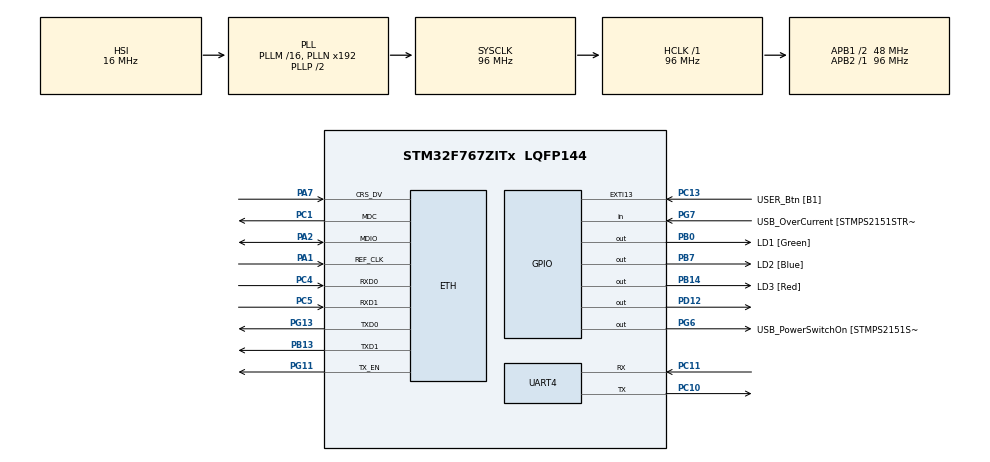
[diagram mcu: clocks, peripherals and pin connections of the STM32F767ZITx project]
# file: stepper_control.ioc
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ETH.MediaInterface=HAL_ETH_RMII_MODE
FREERTOS.Tasks01=defaultTask,24,2048,StartDefaultTask,Default,NULL,Dynamic,NULL,NULL
FREERTOS.configUSE_NEWLIB_REENTRANT=1
Mcu.Family=STM32F7
Mcu.Name=STM32F767ZITx
Mcu.Package=LQFP144
NVIC.ETH_IRQn=true\:5\:0\:false\:false\:false\:true\:true\:true\:true
NVIC.PriorityGroup=NVIC_PRIORITYGROUP_4
NVIC.TIM6_DAC_IRQn=true\:15\:0\:false\:false\:true\:false\:false\:true\:true
NVIC.TimeBase=TIM6_DAC_IRQn
NVIC.TimeBaseIP=TIM6
PA1.GPIO_Mode=GPIO_MODE_AF_PP
PA1.GPIO_PuPd=GPIO_NOPULL
PA1.GPIO_Speed=GPIO_SPEED_FREQ_VERY_HIGH
PA1.Mode=RMII
PA1.Signal=ETH_REF_CLK
PA10.GPIO_Label=USB_ID
PA10.Signal=USB_OTG_FS_ID
PA11.GPIO_Label=USB_DM
PA11.Signal=USB_OTG_FS_DM
PA12.GPIO_Label=USB_DP
PA12.Signal=USB_OTG_FS_DP
PA13.GPIO_Label=TMS
PA13.Signal=SYS_JTMS-SWDIO
PA14.GPIO_Label=TCK
PA14.Signal=SYS_JTCK-SWCLK
PA2.GPIO_Mode=GPIO_MODE_AF_PP
PA2.GPIO_PuPd=GPIO_NOPULL
PA2.GPIO_Speed=GPIO_SPEED_FREQ_VERY_HIGH
PA2.Mode=RMII
PA2.Signal=ETH_MDIO
PA7.GPIO_Mode=GPIO_MODE_AF_PP
PA7.GPIO_PuPd=GPIO_NOPULL
PA7.GPIO_Speed=GPIO_SPEED_FREQ_VERY_HIGH
PA7.Mode=RMII
PA7.Signal=ETH_CRS_DV
PA8.GPIO_Label=USB_SOF [TP1]
PA8.Signal=USB_OTG_FS_SOF
PA9.GPIO_Label=USB_VBUS
PA9.Signal=USB_OTG_FS_VBUS
PB0.GPIO_Label=LD1 [Green]
PB0.Signal=GPIO_Output
PB13.GPIO_Mode=GPIO_MODE_AF_PP
PB13.GPIO_PuPd=GPIO_NOPULL
PB13.GPIO_Speed=GPIO_SPEED_FREQ_VERY_HIGH
PB13.Mode=RMII
PB13.Signal=ETH_TXD1
PB14.GPIO_Label=LD3 [Red]
PB14.Signal=GPIO_Output
PB3.GPIO_Label=SW0
PB3.Signal=SYS_JTDO-SWO
PB7.GPIO_Label=LD2 [Blue]
PB7.Signal=GPIO_Output
PC1.GPIO_Mode=GPIO_MODE_AF_PP
PC1.GPIO_PuPd=GPIO_NOPULL
PC1.GPIO_Speed=GPIO_SPEED_FREQ_VERY_HIGH
PC1.Mode=RMII
PC1.Signal=ETH_MDC
PC10.Mode=Asynchronous
PC10.Signal=UART4_TX
PC11.Mode=Asynchronous
PC11.Signal=UART4_RX
PC13.GPIO_Label=USER_Btn [B1]
PC13.Signal=GPXTI13
PC14/OSC32_IN.Signal=RCC_OSC32_IN
PC15/OSC32_OUT.Signal=RCC_OSC32_OUT
PC4.GPIO_Mode=GPIO_MODE_AF_PP
PC4.GPIO_PuPd=GPIO_NOPULL
PC4.GPIO_Speed=GPIO_SPEED_FREQ_VERY_HIGH
PC4.Mode=RMII
PC4.Signal=ETH_RXD0
PC5.GPIO_Mode=GPIO_MODE_AF_PP
PC5.GPIO_PuPd=GPIO_NOPULL
PC5.GPIO_Speed=GPIO_SPEED_FREQ_VERY_HIGH
PC5.Mode=RMII
PC5.Signal=ETH_RXD1
PD12.Signal=GPIO_Output
PD8.GPIO_Label=STLK_RX [STM32F103CBT6_PA3]
PD8.Signal=USART3_TX
PD9.GPIO_Label=STLK_TX [STM32F103CBT6_PA2]
PD9.Signal=USART3_RX
PG11.GPIO_Mode=GPIO_MODE_AF_PP
PG11.GPIO_PuPd=GPIO_NOPULL
PG11.GPIO_Speed=GPIO_SPEED_FREQ_VERY_HIGH
PG11.Mode=RMII
PG11.Signal=ETH_TX_EN
PG13.GPIO_Mode=GPIO_MODE_AF_PP
PG13.GPIO_PuPd=GPIO_NOPULL
PG13.GPIO_Speed=GPIO_SPEED_FREQ_VERY_HIGH
PG13.Mode=RMII
PG13.Signal=ETH_TXD0
PG6.GPIO_Label=USB_PowerSwitchOn [STMPS2151STR_EN]
PG6.Signal=GPIO_Output
PG7.GPIO_Label=USB_OverCurrent [STMPS2151STR_FAULT]
PG7.Signal=GPIO_Input
PH0/OSC_IN.GPIO_Label=MCO [STM32F103CBT6_PA8]
PH0/OSC_IN.Signal=RCC_OSC_IN
PH1/OSC_OUT.Signal=RCC_OSC_OUT
ProjectManager.HeapSize=0x200
ProjectManager.StackSize=0x400
ProjectManager.TargetToolchain=STM32CubeIDE
RCC.48MHZClocksFreq_Value=24000000
RCC.AHBFreq_Value=96000000
RCC.APB1CLKDivider=RCC_HCLK_DIV2
RCC.APB1Freq_Value=48000000
RCC.APB1TimFreq_Value=96000000
RCC.APB2Freq_Value=96000000
RCC.APB2TimFreq_Value=96000000
RCC.CortexFreq_Value=96000000
RCC.HCLKFreq_Value=96000000
RCC.HSE_VALUE=16000000
RCC.HSI_VALUE=16000000
RCC.LSE_VALUE=32768
RCC.PLLMUL=RCC_PLL_MUL9
RCC.PRESCALERUSB=RCC_USBCLKSOURCE_PLL_DIV1_5
RCC.SYSCLKFreq_VALUE=96000000
RCC.SYSCLKSource=RCC_SYSCLKSOURCE_PLLCLK
RCC.SYSCLKSourceVirtual=RCC_SYSCLKSOURCE_PLLCLK
RCC.USBFreq_Value=96000000
RCC.VCOOutputFreq_Value=192000000
VP_FREERTOS_VS_CMSIS_V2.Mode=CMSIS_V2
VP_SYS_VS_tim6.Mode=TIM6
board=NUCLEO-F767ZI

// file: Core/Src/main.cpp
/* USER CODE BEGIN Header */
/**
  ******************************************************************************
  * @file           : main.c
  * @brief          : Main program body
  ******************************************************************************
  * @attention
  *
  * Copyright (c) 2025 STMicroelectronics.
  * All rights reserved.
  *
  * This software is licensed under terms that can be found in the LICENSE file
  * in the root directory of this software component.
  * If no LICENSE file comes with this software, it is provided AS-IS.
  *
  ******************************************************************************
  */
/* USER CODE END Header */
#include "main.h"
#include "string.h"
#include "cmsis_os.h"

/* USER CODE BEGIN Includes */
#include "mongoose.h"
/* USER CODE END Includes */

/* USER CODE BEGIN PD */
void web_server_task();
void motor_control_task();

/* USER CODE END PD */

#if defined ( __ICCARM__ ) /*!< IAR Compiler */
#pragma location=0x2007c000
ETH_DMADescTypeDef  DMARxDscrTab[ETH_RX_DESC_CNT]; /* Ethernet Rx DMA Descriptors */
#pragma location=0x2007c0a0
ETH_DMADescTypeDef  DMATxDscrTab[ETH_TX_DESC_CNT]; /* Ethernet Tx DMA Descriptors */

#elif defined ( __CC_ARM )  /* MDK ARM Compiler */

__attribute__((at(0x2007c000))) ETH_DMADescTypeDef  DMARxDscrTab[ETH_RX_DESC_CNT]; /* Ethernet Rx DMA Descriptors */
__attribute__((at(0x2007c0a0))) ETH_DMADescTypeDef  DMATxDscrTab[ETH_TX_DESC_CNT]; /* Ethernet Tx DMA Descriptors */

#elif defined ( __GNUC__ ) /* GNU Compiler */

ETH_DMADescTypeDef DMARxDscrTab[ETH_RX_DESC_CNT] __attribute__((section(".RxDecripSection"))); /* Ethernet Rx DMA Descriptors */
ETH_DMADescTypeDef DMATxDscrTab[ETH_TX_DESC_CNT] __attribute__((section(".TxDecripSection")));   /* Ethernet Tx DMA Descriptors */
#endif

ETH_TxPacketConfig TxConfig;

ETH_HandleTypeDef heth;

UART_HandleTypeDef huart4;

/* Definitions for defaultTask */
osThreadId_t defaultTaskHandle;
const osThreadAttr_t defaultTask_attributes = {
  .name = "defaultTask",
  .stack_size = 2048 * 4,
  .priority = (osPriority_t) osPriorityNormal,
};

void SystemClock_Config(void);
static void MX_GPIO_Init(void);
static void MX_UART4_Init(void);
static void MX_ETH_Init(void);
void StartDefaultTask(void *argument);

/* USER CODE BEGIN 0 */
static void fn(struct mg_connection *c, int ev, void *ev_data) {
  if (ev == MG_EV_HTTP_MSG) mg_http_reply(c, 200, "", "ok\n");
}

class stepper {
	uint32_t a;
};
/* USER CODE END 0 */

int main(void)
{

  /* MCU Configuration--------------------------------------------------------*/

  /* Reset of all peripherals, Initializes the Flash interface and the Systick. */
  HAL_Init();

  /* Configure the system clock */
  SystemClock_Config();

  /* Initialize all configured peripherals */
  MX_GPIO_Init();
  MX_UART4_Init();
  MX_ETH_Init();

  /* Init scheduler */
  osKernelInitialize();

  /* Create the thread(s) */
  /* creation of defaultTask */
  //defaultTaskHandle = osThreadNew(StartDefaultTask, NULL, &defaultTask_attributes);
  BaseType_t a = xTaskCreate((TaskFunction_t)web_server_task, NULL, 2048, NULL, tskIDLE_PRIORITY + 1, NULL );
  BaseType_t b = xTaskCreate((TaskFunction_t)motor_control_task, NULL, 2048, NULL, tskIDLE_PRIORITY + 1, NULL );

  /* Start scheduler */
  osKernelStart();

  /* We should never get here as control is now taken by the scheduler */

  /* Infinite loop */
  while (1)
  {

  }
}

void SystemClock_Config(void)
{
  RCC_OscInitTypeDef RCC_OscInitStruct = {0};
  RCC_ClkInitTypeDef RCC_ClkInitStruct = {0};

  /** Configure the main internal regulator output voltage
  */
  __HAL_RCC_PWR_CLK_ENABLE();
  __HAL_PWR_VOLTAGESCALING_CONFIG(PWR_REGULATOR_VOLTAGE_SCALE3);

  /** Initializes the RCC Oscillators according to the specified parameters
  * in the RCC_OscInitTypeDef structure.
  */
  RCC_OscInitStruct.OscillatorType = RCC_OSCILLATORTYPE_HSI;
  RCC_OscInitStruct.HSIState = RCC_HSI_ON;
  RCC_OscInitStruct.HSICalibrationValue = RCC_HSICALIBRATION_DEFAULT;
  RCC_OscInitStruct.PLL.PLLState = RCC_PLL_ON;
  RCC_OscInitStruct.PLL.PLLSource = RCC_PLLSOURCE_HSI;
  RCC_OscInitStruct.PLL.PLLM = 16;
  RCC_OscInitStruct.PLL.PLLN = 192;
  RCC_OscInitStruct.PLL.PLLP = RCC_PLLP_DIV2;
  RCC_OscInitStruct.PLL.PLLQ = 2;
  RCC_OscInitStruct.PLL.PLLR = 2;
  if (HAL_RCC_OscConfig(&RCC_OscInitStruct) != HAL_OK)
  {
    Error_Handler();
  }

  /** Activate the Over-Drive mode
  */
  if (HAL_PWREx_EnableOverDrive() != HAL_OK)
  {
    Error_Handler();
  }

  /** Initializes the CPU, AHB and APB buses clocks
  */
  RCC_ClkInitStruct.ClockType = RCC_CLOCKTYPE_HCLK|RCC_CLOCKTYPE_SYSCLK
                              |RCC_CLOCKTYPE_PCLK1|RCC_CLOCKTYPE_PCLK2;
  RCC_ClkInitStruct.SYSCLKSource = RCC_SYSCLKSOURCE_PLLCLK;
  RCC_ClkInitStruct.AHBCLKDivider = RCC_SYSCLK_DIV1;
  RCC_ClkInitStruct.APB1CLKDivider = RCC_HCLK_DIV2;
  RCC_ClkInitStruct.APB2CLKDivider = RCC_HCLK_DIV1;

  if (HAL_RCC_ClockConfig(&RCC_ClkInitStruct, FLASH_LATENCY_3) != HAL_OK)
  {
    Error_Handler();
  }
}

static void MX_ETH_Init(void)
{

   static uint8_t MACAddr[6];

  heth.Instance = ETH;
  MACAddr[0] = 0x00;
  MACAddr[1] = 0x80;
  MACAddr[2] = 0xE1;
  MACAddr[3] = 0x00;
  MACAddr[4] = 0x00;
  MACAddr[5] = 0x00;
  heth.Init.MACAddr = &MACAddr[0];
  heth.Init.MediaInterface = HAL_ETH_RMII_MODE;
  heth.Init.TxDesc = DMATxDscrTab;
  heth.Init.RxDesc = DMARxDscrTab;
  heth.Init.RxBuffLen = 1524;

  if (HAL_ETH_Init(&heth) != HAL_OK)
  {
    Error_Handler();
  }

  memset(&TxConfig, 0 , sizeof(ETH_TxPacketConfig));
  TxConfig.Attributes = ETH_TX_PACKETS_FEATURES_CSUM | ETH_TX_PACKETS_FEATURES_CRCPAD;
  TxConfig.ChecksumCtrl = ETH_CHECKSUM_IPHDR_PAYLOAD_INSERT_PHDR_CALC;
  TxConfig.CRCPadCtrl = ETH_CRC_PAD_INSERT;

}

static void MX_UART4_Init(void)
{

  huart4.Instance = UART4;
  huart4.Init.BaudRate = 115200;
  huart4.Init.WordLength = UART_WORDLENGTH_8B;
  huart4.Init.StopBits = UART_STOPBITS_1;
  huart4.Init.Parity = UART_PARITY_NONE;
  huart4.Init.Mode = UART_MODE_TX_RX;
  huart4.Init.HwFlowCtl = UART_HWCONTROL_NONE;
  huart4.Init.OverSampling = UART_OVERSAMPLING_16;
  huart4.Init.OneBitSampling = UART_ONE_BIT_SAMPLE_DISABLE;
  huart4.AdvancedInit.AdvFeatureInit = UART_ADVFEATURE_NO_INIT;
  if (HAL_UART_Init(&huart4) != HAL_OK)
  {
    Error_Handler();
  }

}

static void MX_GPIO_Init(void)
{
  GPIO_InitTypeDef GPIO_InitStruct = {0};

  /* GPIO Ports Clock Enable */
  __HAL_RCC_GPIOC_CLK_ENABLE();
  __HAL_RCC_GPIOH_CLK_ENABLE();
  __HAL_RCC_GPIOA_CLK_ENABLE();
  __HAL_RCC_GPIOB_CLK_ENABLE();
  __HAL_RCC_GPIOD_CLK_ENABLE();
  __HAL_RCC_GPIOG_CLK_ENABLE();

  /*Configure GPIO pin Output Level */
  HAL_GPIO_WritePin(GPIOB, LD1_Pin|LD3_Pin|LD2_Pin, GPIO_PIN_RESET);

  /*Configure GPIO pin Output Level */
  HAL_GPIO_WritePin(GPIOD, GPIO_PIN_12, GPIO_PIN_RESET);

  /*Configure GPIO pin Output Level */
  HAL_GPIO_WritePin(USB_PowerSwitchOn_GPIO_Port, USB_PowerSwitchOn_Pin, GPIO_PIN_RESET);

  /*Configure GPIO pin : USER_Btn_Pin */
  GPIO_InitStruct.Pin = USER_Btn_Pin;
  GPIO_InitStruct.Mode = GPIO_MODE_IT_RISING;
  GPIO_InitStruct.Pull = GPIO_NOPULL;
  HAL_GPIO_Init(USER_Btn_GPIO_Port, &GPIO_InitStruct);

  /*Configure GPIO pins : LD1_Pin LD3_Pin LD2_Pin */
  GPIO_InitStruct.Pin = LD1_Pin|LD3_Pin|LD2_Pin;
  GPIO_InitStruct.Mode = GPIO_MODE_OUTPUT_PP;
  GPIO_InitStruct.Pull = GPIO_NOPULL;
  GPIO_InitStruct.Speed = GPIO_SPEED_FREQ_LOW;
  HAL_GPIO_Init(GPIOB, &GPIO_InitStruct);

  /*Configure GPIO pins : STLK_RX_Pin STLK_TX_Pin */
  GPIO_InitStruct.Pin = STLK_RX_Pin|STLK_TX_Pin;
  GPIO_InitStruct.Mode = GPIO_MODE_AF_PP;
  GPIO_InitStruct.Pull = GPIO_NOPULL;
  GPIO_InitStruct.Speed = GPIO_SPEED_FREQ_VERY_HIGH;
  GPIO_InitStruct.Alternate = GPIO_AF7_USART3;
  HAL_GPIO_Init(GPIOD, &GPIO_InitStruct);

  /*Configure GPIO pin : PD12 */
  GPIO_InitStruct.Pin = GPIO_PIN_12;
  GPIO_InitStruct.Mode = GPIO_MODE_OUTPUT_PP;
  GPIO_InitStruct.Pull = GPIO_NOPULL;
  GPIO_InitStruct.Speed = GPIO_SPEED_FREQ_LOW;
  HAL_GPIO_Init(GPIOD, &GPIO_InitStruct);

  /*Configure GPIO pin : USB_PowerSwitchOn_Pin */
  GPIO_InitStruct.Pin = USB_PowerSwitchOn_Pin;
  GPIO_InitStruct.Mode = GPIO_MODE_OUTPUT_PP;
  GPIO_InitStruct.Pull = GPIO_NOPULL;
  GPIO_InitStruct.Speed = GPIO_SPEED_FREQ_LOW;
  HAL_GPIO_Init(USB_PowerSwitchOn_GPIO_Port, &GPIO_InitStruct);

  /*Configure GPIO pin : USB_OverCurrent_Pin */
  GPIO_InitStruct.Pin = USB_OverCurrent_Pin;
  GPIO_InitStruct.Mode = GPIO_MODE_INPUT;
  GPIO_InitStruct.Pull = GPIO_NOPULL;
  HAL_GPIO_Init(USB_OverCurrent_GPIO_Port, &GPIO_InitStruct);

  /*Configure GPIO pins : USB_SOF_Pin USB_ID_Pin USB_DM_Pin USB_DP_Pin */
  GPIO_InitStruct.Pin = USB_SOF_Pin|USB_ID_Pin|USB_DM_Pin|USB_DP_Pin;
  GPIO_InitStruct.Mode = GPIO_MODE_AF_PP;
  GPIO_InitStruct.Pull = GPIO_NOPULL;
  GPIO_InitStruct.Speed = GPIO_SPEED_FREQ_VERY_HIGH;
  GPIO_InitStruct.Alternate = GPIO_AF10_OTG_FS;
  HAL_GPIO_Init(GPIOA, &GPIO_InitStruct);

  /*Configure GPIO pin : USB_VBUS_Pin */
  GPIO_InitStruct.Pin = USB_VBUS_Pin;
  GPIO_InitStruct.Mode = GPIO_MODE_INPUT;
  GPIO_InitStruct.Pull = GPIO_NOPULL;
  HAL_GPIO_Init(USB_VBUS_GPIO_Port, &GPIO_InitStruct);

}

/* USER CODE BEGIN 4 */
void web_server_task()
{
  struct mg_mgr mgr;
  mg_mgr_init(&mgr);
  mg_http_listen(&mgr, "http://0.0.0.0", fn, &mgr);
  for (;;)
  {

	mg_mgr_poll(&mgr, 100);
  vTaskDelay(100);
  }
}

void motor_control_task()
{
  for(;;)
  {
	for (int i = 0; i < 10; i++) {
		HAL_GPIO_TogglePin(GPIOD, GPIO_PIN_12);
		vTaskDelay(100);
	}
	vTaskDelay(500);
	printf("run \r\n");  }
}
/* USER CODE END 4 */

void StartDefaultTask(void *argument)
{
  /* USER CODE BEGIN 5 */

  /* Infinite loop */
  for(;;)
  {

	//HAL_GPIO_WritePin(GPIOD, GPIO_PIN_12, GPIO_PIN_SET);
  }
  /* USER CODE END 5 */
}

void HAL_TIM_PeriodElapsedCallback(TIM_HandleTypeDef *htim)
{
  if (htim->Instance == TIM6)
  {
    HAL_IncTick();
  }
}

void Error_Handler(void)
{
  __disable_irq();
  while (1)
  {
  }
}
